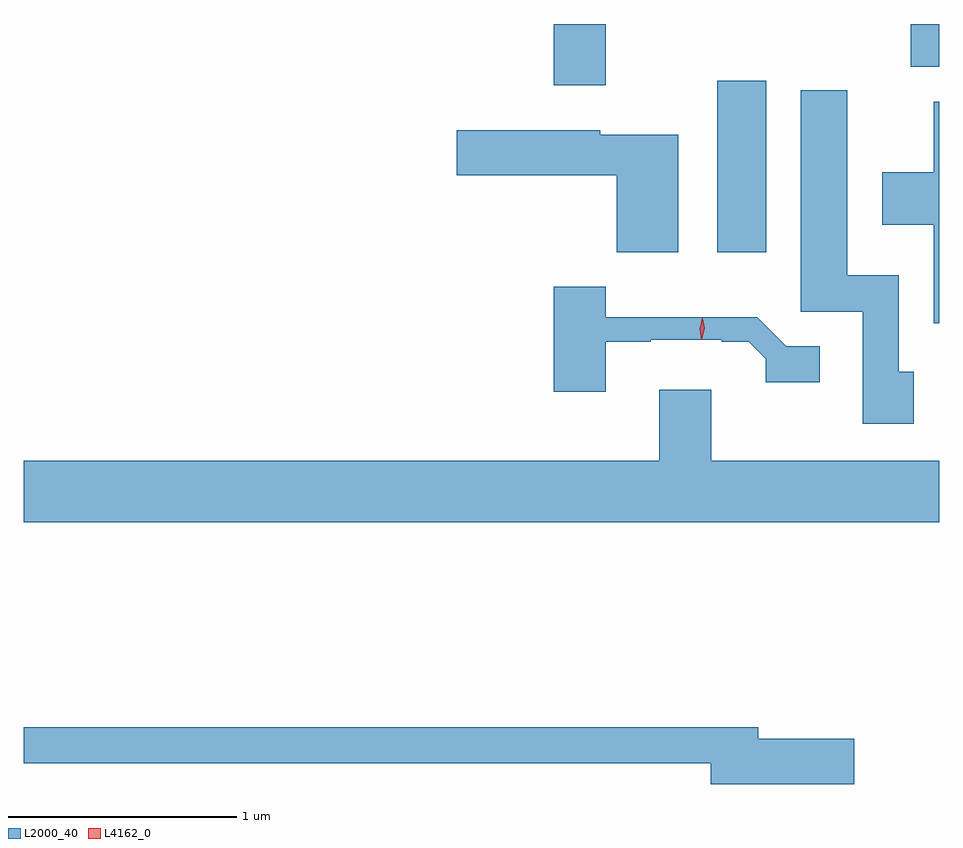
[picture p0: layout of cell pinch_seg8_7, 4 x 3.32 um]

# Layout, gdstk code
import gdstk
lib = gdstk.Library(unit=1e-6, precision=1e-09)
def R(c, l, rs):  # rectangles x0, y0, x1, y1
    for r in rs: c.add(gdstk.rectangle(r[:2], r[2:], *l))
def P(c, l, *ps):  # polygons
    for p in ps: c.add(gdstk.Polygon(p, *l))
L2000_40 = (2000, 40)
L4162_0 = (4162, 0)

pinch_seg8_7 = lib.new_cell('pinch_seg8_7')
R(pinch_seg8_7, L2000_40, [(1066.666,1884.216,1066.879,1884.964), (1065.951,1884.946,1066.179,1885.213), (1067.511,1885.026,1067.635,1885.213)])
P(pinch_seg8_7, L2000_40, [(1067.524,1883.694),(1067.459,1883.694),(1067.459,1884.114),(1067.234,1884.114),(1067.234,1884.924),(1067.031,1884.924),(1067.031,1883.956),(1067.301,1883.956),(1067.301,1883.466),(1067.524,1883.466)],
  [(1067.635,1884.874),(1067.611,1884.874),(1067.611,1884.564),(1067.386,1884.564),(1067.386,1884.336),(1067.611,1884.336),(1067.611,1883.906),(1067.635,1883.906)],
  [(1066.494,1884.729),(1066.154,1884.729),(1066.154,1884.749),(1065.526,1884.749),(1065.526,1884.551),(1066.226,1884.551),(1066.226,1884.216),(1066.494,1884.216)],
  [(1066.179,1883.824),(1066.375,1883.824),(1066.375,1883.833),(1066.685,1883.833),(1066.685,1883.824),(1066.803,1883.824),(1066.877,1883.749),(1066.877,1883.646),(1067.113,1883.646),(1067.113,1883.804),(1066.967,1883.804),(1066.84,1883.931),(1066.179,1883.931),(1066.179,1884.064),(1065.951,1884.064),(1065.951,1883.606),(1066.179,1883.606)],
  [(1067.635,1883.304),(1066.639,1883.304),(1066.639,1883.614),(1066.411,1883.614),(1066.411,1883.304),(1063.635,1883.304),(1063.635,1883.036),(1067.635,1883.036)],
  [(1067.264,1882.089),(1066.844,1882.089),(1066.844,1882.139),(1063.635,1882.139),(1063.635,1881.981),(1066.636,1881.981),(1066.636,1881.891),(1067.264,1881.891)])
P(pinch_seg8_7, L4162_0, [(1066.597,1883.832),(1066.596,1883.833),(1066.588,1883.882),(1066.599,1883.93),(1066.6,1883.93),(1066.6,1883.93),(1066.608,1883.881),(1066.598,1883.833)],
  [(1066.601,1883.84),(1066.6,1883.841),(1066.591,1883.883),(1066.601,1883.924),(1066.601,1883.925),(1066.602,1883.924),(1066.611,1883.883),(1066.601,1883.841)])

lib.write_gds('pinch_seg8_7.gds')
